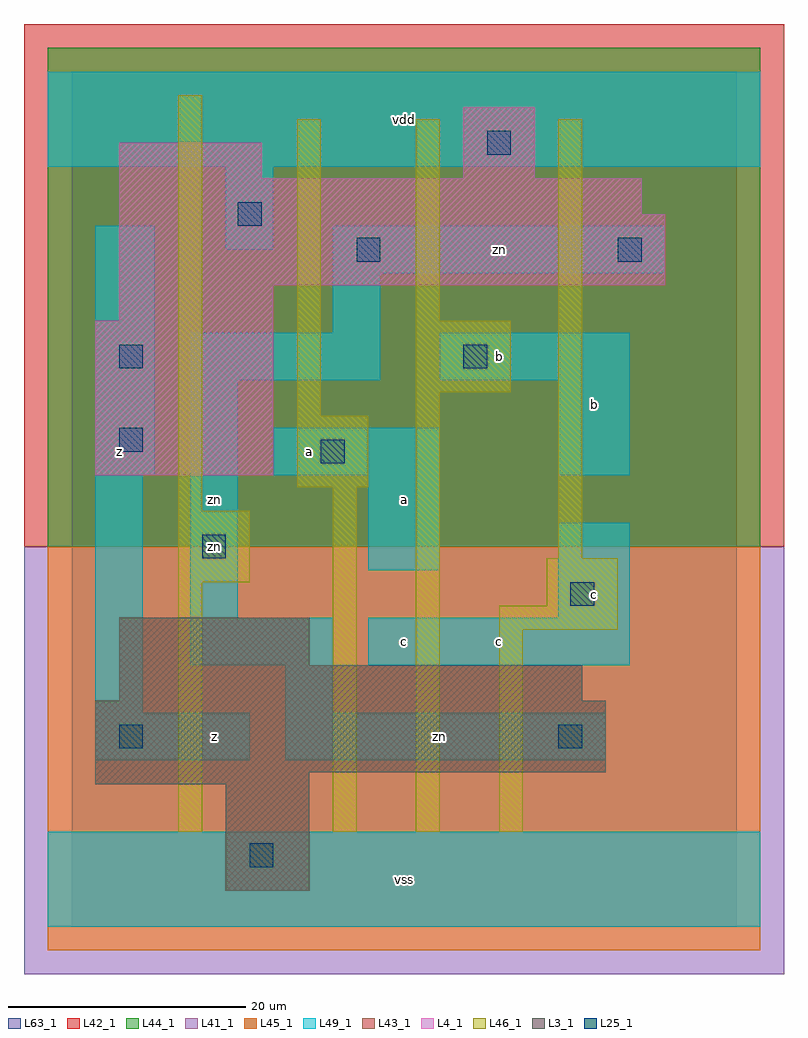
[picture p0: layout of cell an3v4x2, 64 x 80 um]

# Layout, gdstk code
import gdstk
lib = gdstk.Library(unit=1e-6, precision=1e-09)
def R(c, l, rs):  # rectangles x0, y0, x1, y1
    for r in rs: c.add(gdstk.rectangle(r[:2], r[2:], *l))
L3_1 = (3, 1)
L4_1 = (4, 1)
L25_1 = (25, 1)
L41_1 = (41, 1)
L42_1 = (42, 1)
L43_1 = (43, 1)
L44_1 = (44, 1)
L45_1 = (45, 1)
L46_1 = (46, 1)
L49_1 = (49, 1)
L63_1 = (63, 1)

an3v4x2 = lib.new_cell('an3v4x2')
R(an3v4x2, L3_1, [(13,3,20,12), (2,12,20,13), (2,13,45,19), (4,19,43,22), (4,22,20,26)])
R(an3v4x2, L4_1, [(2,38,17,51), (4,51,17,54), (4,54,50,60), (4,60,48,63), (4,63,16,66), (33,63,39,69)])
R(an3v4x2, L25_1, [(15,5,17,7), (4,15,6,17), (41,15,43,17), (42,27,44,29), (11,31,13,33), (21,39,23,41), (4,40,6,42), (4,47,6,49), (33,47,35,49), (24,56,26,58), (46,56,48,58), (14,59,16,61), (35,65,37,67)])
R(an3v4x2, L41_1, [(-4,-4,60,32)])
R(an3v4x2, L42_1, [(-4,32,60,76)])
R(an3v4x2, L43_1, [(13,3,20,12), (2,12,20,13), (2,13,45,19), (4,19,43,22), (4,22,20,26), (2,38,17,51), (4,51,17,54), (4,54,50,60), (4,60,48,63), (4,63,16,66), (33,63,39,69)])
R(an3v4x2, L44_1, [(-2,32,58,74)])
R(an3v4x2, L45_1, [(-2,-2,58,32)])
R(an3v4x2, L46_1, [(9,8,11,29), (22,8,24,37), (29,8,31,45), (36,8,38,25), (36,25,46,27), (40,27,46,31), (9,29,15,35), (41,31,43,68), (9,35,11,70), (19,37,25,43), (19,43,21,68), (29,45,37,51), (29,51,31,68)])
R(an3v4x2, L49_1, [(-2,0,58,8), (2,14,15,18), (18,14,45,18), (2,18,6,38), (18,18,22,22), (10,22,22,26), (25,22,47,26), (10,26,14,46), (41,26,47,34), (25,30,31,38), (2,38,7,59), (17,38,31,42), (41,38,47,46), (10,46,26,50), (31,46,47,50), (22,50,26,55), (22,55,50,59), (13,57,17,64), (-2,64,58,72)])
R(an3v4x2, L63_1, [(0,0,56,72)])
an3v4x2.add(gdstk.Label('zn', (12,32), layer=49, texttype=1))
an3v4x2.add(gdstk.Label('z', (4,40), layer=49, texttype=1))
an3v4x2.add(gdstk.Label('z', (12,16), layer=49, texttype=1))
an3v4x2.add(gdstk.Label('a', (20,40), layer=49, texttype=1))
an3v4x2.add(gdstk.Label('zn', (12,36), layer=49, texttype=1))
an3v4x2.add(gdstk.Label('vss', (28,4), layer=49, texttype=1))
an3v4x2.add(gdstk.Label('c', (28,24), layer=49, texttype=1))
an3v4x2.add(gdstk.Label('c', (36,24), layer=49, texttype=1))
an3v4x2.add(gdstk.Label('a', (28,36), layer=49, texttype=1))
an3v4x2.add(gdstk.Label('b', (36,48), layer=49, texttype=1))
an3v4x2.add(gdstk.Label('vdd', (28,68), layer=49, texttype=1))
an3v4x2.add(gdstk.Label('zn', (31,16), layer=49, texttype=1))
an3v4x2.add(gdstk.Label('c', (44,28), layer=49, texttype=1))
an3v4x2.add(gdstk.Label('b', (44,44), layer=49, texttype=1))
an3v4x2.add(gdstk.Label('zn', (36,57), layer=49, texttype=1))

lib.write_gds('an3v4x2.gds')
